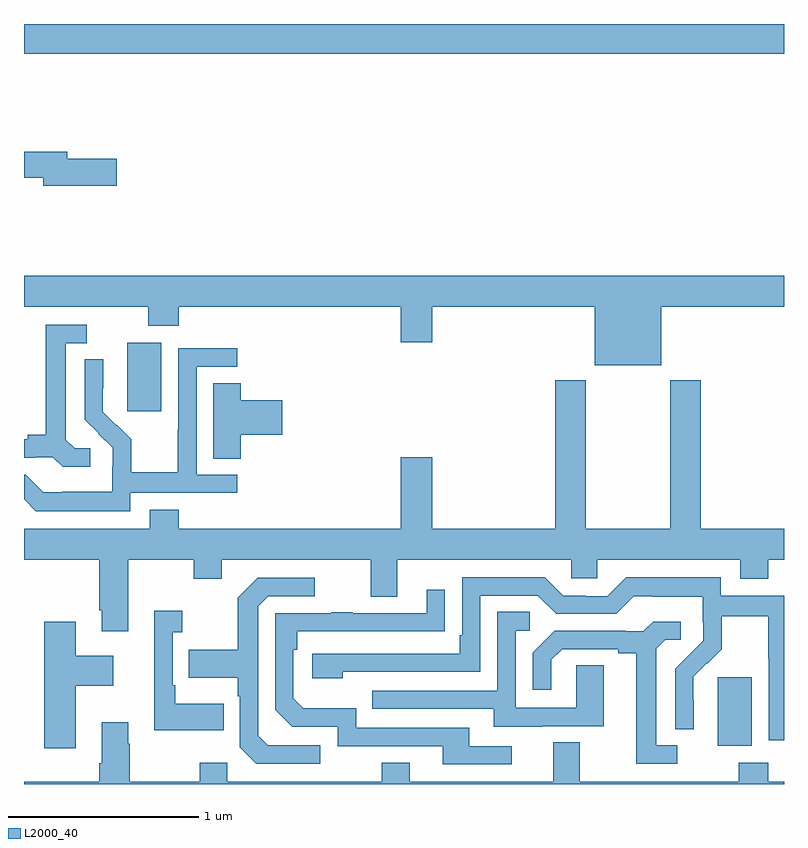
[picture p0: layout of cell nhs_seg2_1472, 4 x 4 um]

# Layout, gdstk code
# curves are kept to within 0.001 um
import gdstk
lib = gdstk.Library(unit=1e-6, precision=1e-09)
def R(c, l, rs):  # rectangles x0, y0, x1, y1
    for r in rs: c.add(gdstk.rectangle(r[:2], r[2:], *l))
def P(c, l, *ps):  # polygons
    for p in ps: c.add(gdstk.Polygon(p, *l))
L2000_40 = (2000, 40)

nhs_seg2_1472 = lib.new_cell('nhs_seg2_1472')
R(nhs_seg2_1472, L2000_40, [(190.652,636.002,190.831,636.363), (187.544,637.761,187.723,638.122), (187,639.644,191,639.8)])
P(nhs_seg2_1472, L2000_40, [(187.489,639.092),(187.228,639.092),(187.228,639.128),(187,639.128),(187,638.992),(187.1,638.992),(187.1,638.95),(187.489,638.95)],
  [(190.354,638.312),(191,638.312),(191,638.476),(187,638.476),(187,638.312),(187.654,638.312),(187.654,638.213),(187.814,638.213),(187.814,638.312),(188.984,638.312),(188.984,638.124),(189.148,638.124),(189.148,638.312),(190.004,638.312),(190.004,638.003),(190.354,638.003)],
  [(187.348,637.566),(187.266,637.566),(187.219,637.613),(187.219,638.121),(187.33,638.121),(187.33,638.217),(187.115,638.217),(187.115,637.637),(187.019,637.637),(187.019,637.614),(187,637.614),(187,637.518),(187.058,637.518),(187.058,637.521),(187.152,637.521),(187.204,637.469),(187.348,637.469)],
  [(187.56,637.332),(188.122,637.332),(188.122,637.428),(187.908,637.428),(187.908,637.995),(188.122,637.995),(188.122,638.094),(187.812,638.094),(187.812,637.664),(187.81,637.664),(187.81,637.441),(187.565,637.441),(187.565,637.615),(187.488,637.692),(187.485,637.689),(187.415,637.76),(187.416,638.036),(187.32,638.036),(187.32,637.718),(187.466,637.57),(187.466,637.473),(187.464,637.473),(187.464,637.339),(187.201,637.339),(187.201,637.335),(187.101,637.335),(187.008,637.428),(187,637.428),(187,637.298),(187.063,637.235),(187.56,637.235)],
  [(187.549,636.98),(187.894,636.98),(187.894,636.881),(188.041,636.881),(188.041,636.98),(188.825,636.98),(188.825,636.786),(188.965,636.786),(188.965,636.98),(189.879,636.98),(189.879,636.882),(190.017,636.882),(190.017,636.98),(190.769,636.98),(190.769,636.881),(190.917,636.881),(190.917,636.98),(191,636.98),(191,637.144),(190.562,637.144),(190.562,637.924),(190.402,637.924),(190.402,637.144),(189.957,637.144),(189.957,637.924),(189.797,637.924),(189.797,637.144),(189.148,637.144),(189.148,637.519),(188.984,637.519),(188.984,637.144),(187.814,637.144),(187.814,637.243),(187.661,637.243),(187.661,637.144),(187,637.144),(187,636.98),(187.397,636.98),(187.397,636.715),(187.409,636.715),(187.409,636.603),(187.549,636.603)],
  [(188.141,637.637),(188.359,637.637),(188.359,637.82),(188.141,637.82),(188.141,637.91),(187.997,637.91),(187.997,637.513),(188.141,637.513)],
  [(191,636.792),(190.668,636.792),(190.668,636.889),(190.171,636.889),(190.071,636.789),(189.956,636.789),(189.956,636.792),(189.837,636.792),(189.741,636.888),(189.306,636.888),(189.306,636.583),(189.293,636.583),(189.293,636.486),(188.517,636.486),(188.517,636.356),(188.678,636.356),(188.678,636.39),(189.402,636.39),(189.402,636.792),(189.705,636.792),(189.801,636.696),(190.116,636.696),(190.209,636.789),(190.309,636.789),(190.309,636.785),(190.572,636.785),(190.572,636.651),(190.574,636.651),(190.574,636.554),(190.428,636.406),(190.428,636.088),(190.524,636.088),(190.523,636.365),(190.593,636.435),(190.596,636.432),(190.673,636.509),(190.673,636.684),(190.918,636.684),(190.918,636.46),(190.92,636.46),(190.92,636.031),(191,636.031)],
  [(188.56,636.003),(188.283,636.003),(188.232,636.054),(188.232,636.735),(188.286,636.789),(188.53,636.789),(188.53,636.885),(188.229,636.885),(188.124,636.779),(188.124,636.507),(187.867,636.507),(187.867,636.359),(188.124,636.359),(188.124,636.263),(188.136,636.263),(188.136,635.994),(188.223,635.907),(188.56,635.907)],
  [(189.568,636),(189.343,636),(189.343,636.096),(188.748,636.096),(188.748,636.199),(188.471,636.199),(188.418,636.252),(188.418,636.506),(188.438,636.506),(188.438,636.603),(189.215,636.604),(189.215,636.823),(189.119,636.823),(189.119,636.699),(188.729,636.699),(188.729,636.704),(188.617,636.704),(188.617,636.699),(188.322,636.699),(188.322,636.192),(188.412,636.102),(188.652,636.102),(188.652,636),(189.203,636),(189.203,635.904),(189.568,635.904)],
  [(188.051,636.223),(187.795,636.223),(187.795,636.319),(187.782,636.319),(187.782,636.599),(187.834,636.599),(187.834,636.712),(187.685,636.712),(187.685,636.083),(188.051,636.083)],
  [(189.727,636.105),(190.051,636.105),(190.051,636.425),(189.906,636.425),(189.906,636.201),(189.588,636.201),(189.588,636.606),(189.661,636.606),(189.661,636.707),(189.492,636.707),(189.492,636.291),(188.833,636.291),(188.833,636.195),(189.473,636.195),(189.473,636.101),(189.727,636.101)],
  [(187.273,636.317),(187.471,636.317),(187.471,636.475),(187.273,636.475),(187.273,636.655),(187.106,636.655),(187.106,635.988),(187.273,635.988)],
  [(190.438,636.003),(190.327,636.003),(190.327,636.511),(190.374,636.558),(190.456,636.558),(190.456,636.655),(190.312,636.655),(190.26,636.603),(190.166,636.603),(190.166,636.606),(189.794,636.606),(189.678,636.49),(189.678,636.297),(189.775,636.297),(189.775,636.453),(189.832,636.51),(190.127,636.51),(190.127,636.488),(190.223,636.488),(190.223,635.907),(190.438,635.907)],
  [(191,635.812),(190.917,635.812),(190.917,635.911),(190.762,635.911),(190.762,635.812),(189.925,635.812),(189.925,636.02),(189.785,636.02),(189.785,635.812),(189.031,635.812),(189.031,635.911),(188.884,635.911),(188.884,635.812),(188.07,635.812),(188.07,635.911),(187.924,635.911),(187.924,635.812),(187.557,635.812),(187.557,636.011),(187.549,636.011),(187.549,636.124),(187.409,636.124),(187.409,635.908),(187.397,635.908),(187.397,635.812),(187,635.812),(187,635.8),(191,635.8)])

lib.write_gds('nhs_seg2_1472.gds')
